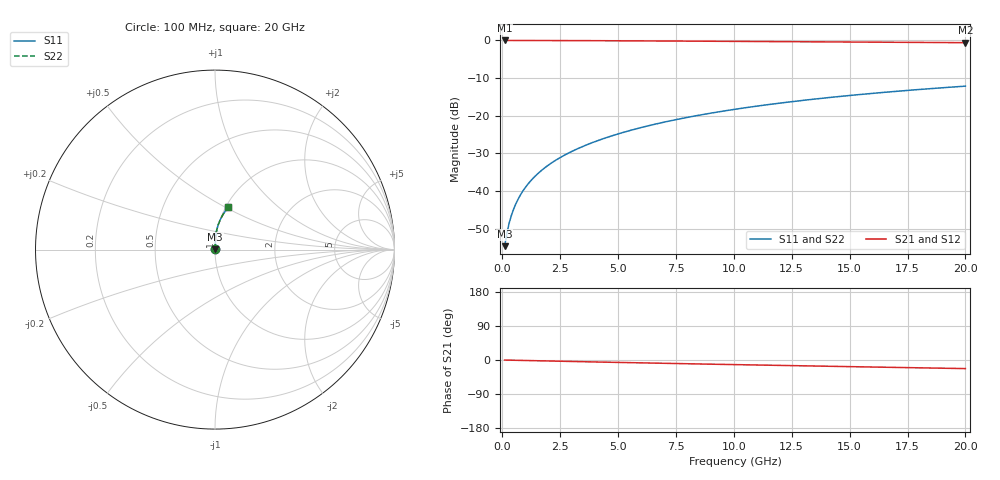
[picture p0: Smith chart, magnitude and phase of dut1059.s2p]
! Touchstone file exported from HFSS 2024.1.0
!  File:  C:/UserFiles/LocalFiles/RDL_TSV_Batchsim/temp_RDL_bottom_1059_1780052254.aedt
!  Generated:  07:00:06 PM May 29, 2026
!  Design:  RDL_bottom
!  Project:  temp_RDL_bottom_1059_1780052254
!  Setup:  Setup1
!  Solution:  Sweep
! Variables:
!  dtsv = 10.80580581um
!  hbump = 3um
!  htsv = 89.68um
!  ldown = 273.42um
!  lrdl = 100um
!  p = 40
!  p1 = 56.28um
!  rhole = 1um
!  t = 450um
!  tdown = 3.49um
!  trdl = 3.915915916um
!  wdown = 22.98um
!  wrdl = 20um
# GHz S MA R 50.000000
! Terminal data exported
! Port[1] = RDL1_T1
! Port[2] = RDL1_T2
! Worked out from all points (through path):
!   200 points, 100 MHz to 20 GHz, reference 50 ohm
!   highest |S21| = -0.01 dB at 100 MHz (marker M1); lowest = -0.6 dB at 20 GHz (marker M2)
!   group delay of S21, straight-line fit = 3.12 ps
!   lowest |S11| = -54.6 dB at 100 MHz (marker M3), VSWR 1.00, Z = 50.1 + j0.12 ohm
!   |S11| at or under -10 dB: start of sweep to end of sweep
!   |S22| runs from -54.6 to -12.1 dB; largest |S21 - S12| = 6e-15
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0.1  0.001862 39.8  0.9986 -0.1  0.9986 -0.1  0.001862 39.8
! Gamma 0 0 0 0
! Port Impedance 50 0 50 0
0.2  0.002784 57.6  0.9985 -0.3  0.9985 -0.3  0.002784 57.6
0.3  0.003803 65.9  0.9984 -0.4  0.9984 -0.4  0.003803 65.9
0.4  0.004844 70.7  0.9983 -0.5  0.9983 -0.5  0.004844 70.7
0.5  0.005892 73.9  0.9982 -0.7  0.9982 -0.7  0.005892 73.9
0.6  0.006949 76.2  0.9982 -0.8  0.9982 -0.8  0.006949 76.2
0.8  0.009082 79.3  0.998 -1.1  0.998 -1.1  0.009082 79.3
1.1  0.01232 82.1  0.9977 -1.5  0.9977 -1.5  0.01232 82.1
1.5  0.01671 84.3  0.9972 -2.0  0.9972 -2.0  0.01671 84.2
1.8  0.02003 85.3  0.9968 -2.4  0.9968 -2.4  0.02003 85.3
2.1  0.02339 86.0  0.9963 -2.8  0.9963 -2.8  0.02339 86.0
2.7  0.03019 86.9  0.9952 -3.5  0.9952 -3.5  0.03019 86.9
3.5  0.03946 87.6  0.9932 -4.5  0.9932 -4.5  0.03945 87.6
4.2  0.04775 87.8  0.9913 -5.4  0.9913 -5.4  0.04775 87.8
5  0.05745 87.7  0.9889 -6.4  0.9889 -6.4  0.05745 87.7
5.9  0.0686 87.4  0.9859 -7.5  0.9859 -7.5  0.06859 87.4
6.8  0.07996 86.9  0.9828 -8.5  0.9828 -8.5  0.07995 86.9
8.4  0.1005 85.7  0.977 -10.4  0.977 -10.4  0.1005 85.7
10.1  0.1227 84.0  0.9708 -12.3  0.9708 -12.3  0.1227 84.0
13.4  0.1655 80.3  0.9587 -15.8  0.9587 -15.8  0.1655 80.3
16.7  0.2072 76.5  0.9462 -19.3  0.9462 -19.3  0.2072 76.5
20  0.2473 72.7  0.9334 -22.7  0.9334 -22.7  0.2473 72.7
